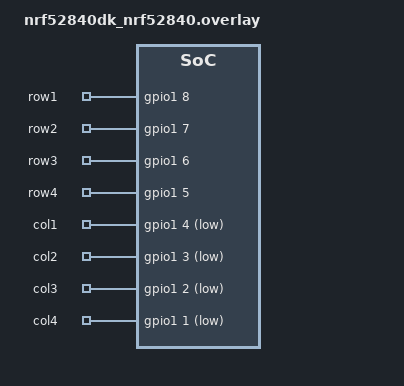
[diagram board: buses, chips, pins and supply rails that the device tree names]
// To get started, press Ctrl+Space to bring up the completion menu and view the available nodes.

// You can also use the buttons in the sidebar to perform actions on nodes.
// Actions currently available include:

// * Enabling / disabling the node
// * Adding the bus to a bus
// * Removing the node
// * Connecting ADC channels

// For more help, browse the DeviceTree documentation at https: //docs.zephyrproject.org/latest/guides/dts/index.html
// You can also visit the nRF DeviceTree extension documentation at https: //nrfconnect.github.io/vscode-nrf-connect/devicetree/nrfdevicetree.html
/{
    gpios{
        compatible = "gpio-keys";
        row1: row_1 {
            gpios = <&gpio1 8 (GPIO_ACTIVE_HIGH )>;
            label = "row1";
        };
        row2: row_2 {
            gpios = <&gpio1 7 (GPIO_ACTIVE_HIGH )>;
            label = "row2";
        };
        row3: row_3 {
            gpios = <&gpio1 6 (GPIO_ACTIVE_HIGH )>;
            label = "row3";
        };
        row4: row_4 {
            gpios = <&gpio1 5 (GPIO_ACTIVE_HIGH )>;
            label = "row4";
        };
        col1: col_1 {
            gpios = <&gpio1 4 (GPIO_PULL_UP | GPIO_ACTIVE_LOW)>;
            label = "col1";
        };
        col2: col_2 {
            gpios = <&gpio1 3 (GPIO_PULL_UP | GPIO_ACTIVE_LOW)>;
            label = "col2";
        };
        col3: col_3 {
            gpios = <&gpio1 2 (GPIO_PULL_UP | GPIO_ACTIVE_LOW)>;
            label = "col3";
        };
        col4: col_4 {
            gpios = <&gpio1 1 (GPIO_PULL_UP | GPIO_ACTIVE_LOW)>;
            label = "col4";
        };
    };
};

&spi1 {
    status = "disabled";
};
